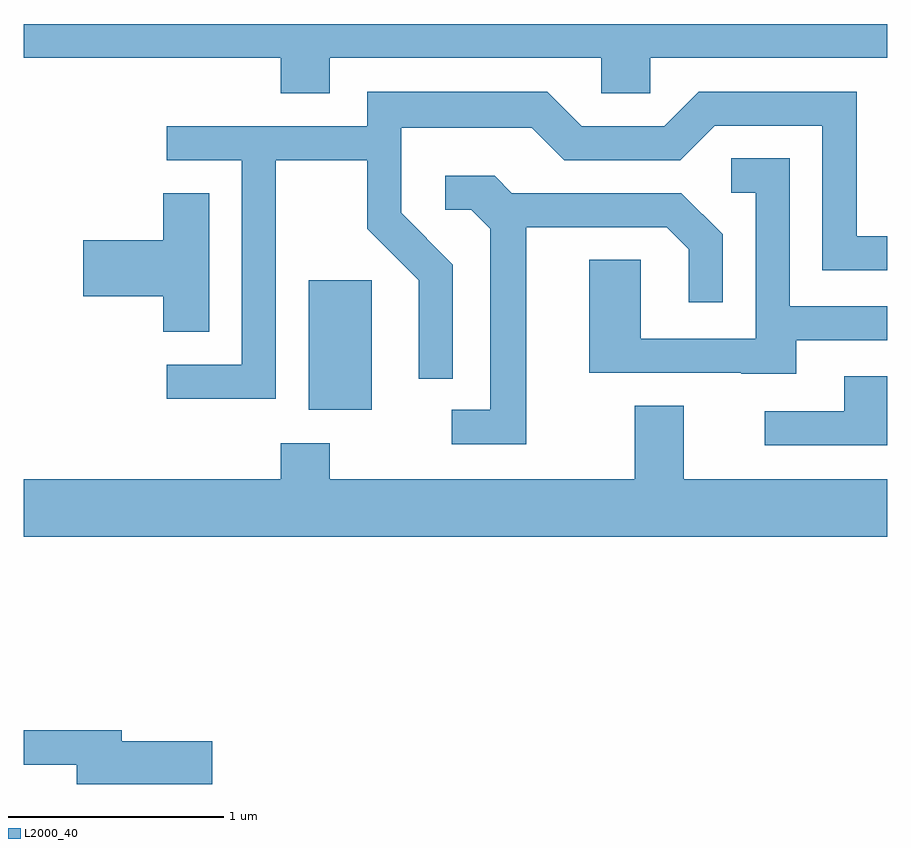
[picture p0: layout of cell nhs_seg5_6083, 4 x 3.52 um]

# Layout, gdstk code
import gdstk
lib = gdstk.Library(unit=1e-6, precision=1e-09)
def R(c, l, rs):  # rectangles x0, y0, x1, y1
    for r in rs: c.add(gdstk.rectangle(r[:2], r[2:], *l))
def P(c, l, *ps):  # polygons
    for p in ps: c.add(gdstk.Polygon(p, *l))
L2000_40 = (2000, 40)

nhs_seg5_6083 = lib.new_cell('nhs_seg5_6083')
R(nhs_seg5_6083, L2000_40, [(366.931,1446.286,367.224,1446.884)])
P(nhs_seg5_6083, L2000_40, [(367.029,1447.916),(368.286,1447.916),(368.286,1447.751),(368.514,1447.751),(368.514,1447.916),(369.611,1447.916),(369.611,1448.072),(365.611,1448.072),(365.611,1447.916),(366.801,1447.916),(366.801,1447.751),(367.029,1447.751)],
  [(366.779,1447.441),(367.201,1447.441),(367.201,1447.124),(367.441,1446.884),(367.441,1446.428),(367.599,1446.428),(367.599,1446.957),(367.359,1447.197),(367.359,1447.591),(367.964,1447.591),(368.114,1447.441),(368.652,1447.441),(368.812,1447.601),(369.311,1447.601),(369.311,1446.931),(369.611,1446.931),(369.611,1447.089),(369.469,1447.089),(369.469,1447.759),(368.739,1447.759),(368.579,1447.599),(368.197,1447.599),(368.037,1447.759),(367.201,1447.759),(367.201,1447.599),(366.273,1447.599),(366.273,1447.441),(366.621,1447.441),(366.621,1446.494),(366.273,1446.494),(366.273,1446.336),(366.779,1446.336)],
  [(369.189,1446.606),(369.611,1446.606),(369.611,1446.764),(369.159,1446.764),(369.159,1447.449),(368.888,1447.449),(368.888,1447.291),(369.001,1447.291),(369.001,1446.614),(368.469,1446.614),(368.469,1446.979),(368.231,1446.979),(368.231,1446.456),(368.935,1446.456),(368.935,1446.451),(369.189,1446.451)],
  [(367.939,1447.131),(368.589,1447.131),(368.691,1447.029),(368.691,1446.783),(368.849,1446.783),(368.849,1447.097),(368.657,1447.289),(367.872,1447.289),(367.792,1447.369),(367.563,1447.369),(367.563,1447.211),(367.684,1447.211),(367.771,1447.124),(367.771,1446.284),(367.593,1446.284),(367.593,1446.126),(367.939,1446.126)],
  [(366.469,1447.289),(366.256,1447.289),(366.256,1447.069),(365.886,1447.069),(365.886,1446.811),(366.256,1446.811),(366.256,1446.646),(366.469,1446.646)],
  [(369.611,1446.439),(369.411,1446.439),(369.411,1446.279),(369.043,1446.279),(369.043,1446.121),(369.611,1446.121)],
  [(369.611,1445.964),(368.669,1445.964),(368.669,1446.304),(368.441,1446.304),(368.441,1445.964),(367.029,1445.964),(367.029,1446.129),(366.801,1446.129),(366.801,1445.964),(365.611,1445.964),(365.611,1445.696),(369.611,1445.696)],
  [(366.484,1444.749),(366.064,1444.749),(366.064,1444.799),(365.611,1444.799),(365.611,1444.641),(365.856,1444.641),(365.856,1444.551),(366.484,1444.551)])

lib.write_gds('nhs_seg5_6083.gds')
